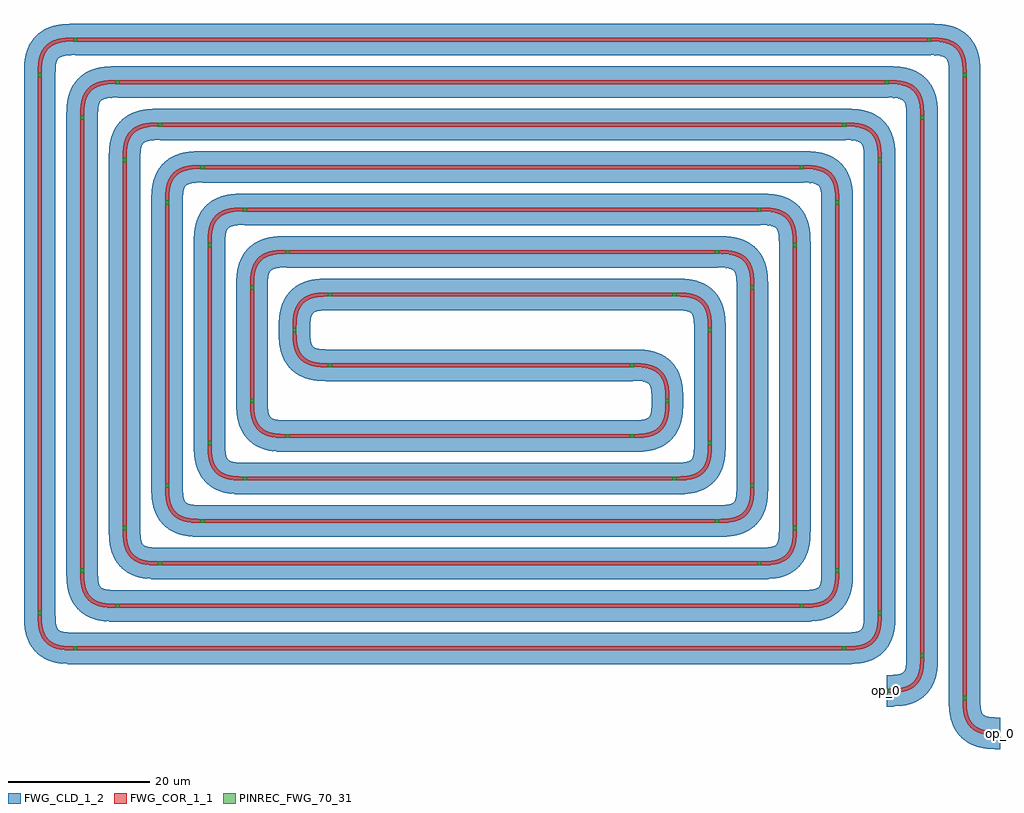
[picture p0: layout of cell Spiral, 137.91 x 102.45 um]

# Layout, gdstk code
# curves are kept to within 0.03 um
from math import pi, radians
import gdstk
lib = gdstk.Library(unit=1e-6, precision=1e-09)
def R(c, l, rs):  # rectangles x0, y0, x1, y1
    for r in rs: c.add(gdstk.rectangle(r[:2], r[2:], *l))
def P(c, l, *ps):  # polygons
    for p in ps: c.add(gdstk.Polygon(p, *l))
FWG_COR_1_1 = (1, 1)
FWG_CLD_1_2 = (1, 2)
PINREC_FWG_70_31 = (70, 31)

wg_x19 = lib.new_cell('wg_x19')
R(wg_x19, FWG_COR_1_1, [(0,-0.275,28,0.275)])
P(wg_x19, FWG_CLD_1_2, [(0,2.225),(28,2.225),(28,0.275),(28,-0.275),(28,-2.225),(0,-2.225),(0,-0.275),(0,0.275)])
R(wg_x19, PINREC_FWG_70_31, [(0,-0.275,0.3,0.275), (27.7,-0.275,28,0.275)])
wg_x19.add(gdstk.Label('op_0', (0,0), layer=70, texttype=41))
wg_x19.add(gdstk.Label('op_1', (28,0), layer=70, texttype=41))

wg_x26 = lib.new_cell('wg_x26')
P(wg_x26, FWG_COR_1_1, [(0,0.275),(1.312,0.306),(2.267,0.45),(3.07,0.741),(3.689,1.165),(3.969,1.47),(4.22,1.856),(4.529,2.65),(4.687,3.599),(4.725,5),(5.275,5),(5.235,3.552),(5.048,2.462),(4.892,1.997),(4.654,1.506),(4.372,1.093),(4.061,0.76),(3.58,0.397),(3.003,0.108),(2.35,-0.096),(1.638,-0.216),(0,-0.275)])
P(wg_x26, FWG_CLD_1_2, [(0,2.225),(0.954,2.238),(1.569,2.297),(2.057,2.422),(2.382,2.613),(2.564,2.908),(2.703,3.431),(2.764,4.083),(2.775,5),(7.225,5),(7.195,3.615),(7.074,2.591),(6.826,1.609),(6.417,0.663),(5.892,-0.128),(5.255,-0.787),(4.539,-1.302),(3.66,-1.729),(2.926,-1.962),(2.036,-2.132),(1.161,-2.207),(0,-2.225)])
R(wg_x26, PINREC_FWG_70_31, [(0,-0.275,0.3,0.275), (4.725,4.7,5.275,5)])
wg_x26.add(gdstk.Label('op_0', (0,0), layer=70, texttype=41))
wg_x26.add(gdstk.Label('op_1', (5,5), layer=70, texttype=41))

bendeuler90_x3 = lib.new_cell('BendEuler90_x3')
R(bendeuler90_x3, PINREC_FWG_70_31, [(0,-0.275,0.3,0.275), (4.725,4.7,5.275,5)])
bendeuler90_x3.add(gdstk.Reference(wg_x26, (0,0)))
bendeuler90_x3.add(gdstk.Label('op_0', (0,0), layer=70, texttype=41))
bendeuler90_x3.add(gdstk.Label('op_1', (5,5), layer=70, texttype=41))

wg_x1a = lib.new_cell('wg_x1a')
R(wg_x1a, FWG_COR_1_1, [(0,-0.275,60.683,0.275)])
P(wg_x1a, FWG_CLD_1_2, [(0,2.225),(60.683,2.225),(60.683,0.275),(60.683,-0.275),(60.683,-2.225),(0,-2.225),(0,-0.275),(0,0.275)])
R(wg_x1a, PINREC_FWG_70_31, [(0,-0.275,0.3,0.275), (60.383,-0.275,60.683,0.275)])
wg_x1a.add(gdstk.Label('op_0', (0,0), layer=70, texttype=41))
wg_x1a.add(gdstk.Label('op_1', (60.683,0), layer=70, texttype=41))

wg_x4 = lib.new_cell('wg_x4')
P(wg_x4, FWG_COR_1_1, [(-59.683,14.725),(-60.995,14.694),(-61.95,14.55),(-62.753,14.259),(-63.372,13.835),(-63.862,13.218),(-64.201,12.392),(-64.374,11.356),(-64.408,10),(-64.958,10),(-64.914,11.495),(-64.718,12.585),(-64.557,13.049),(-64.338,13.494),(-64.055,13.907),(-63.707,14.274),(-63.263,14.603),(-62.687,14.892),(-62.033,15.096),(-61.321,15.216),(-59.683,15.275)])
P(wg_x4, FWG_CLD_1_2, [(-59.683,12.775),(-60.637,12.762),(-61.252,12.703),(-61.74,12.578),(-62.065,12.387),(-62.247,12.092),(-62.382,11.597),(-62.442,11.026),(-62.458,10),(-66.908,10),(-66.882,11.328),(-66.757,12.409),(-66.509,13.391),(-66.1,14.337),(-65.575,15.128),(-64.938,15.787),(-64.222,16.302),(-63.343,16.729),(-62.609,16.962),(-61.719,17.132),(-60.844,17.207),(-59.683,17.225)])
R(wg_x4, PINREC_FWG_70_31, [(-64.958,10,-64.408,10.3), (-59.983,14.725,-59.683,15.275)])
wg_x4.add(gdstk.Label('op_0', (-59.683,15), layer=70, texttype=41))
wg_x4.add(gdstk.Label('op_1', (-64.683,10), layer=70, texttype=41))

bendeuler90_x2 = lib.new_cell('BendEuler90_x2')
R(bendeuler90_x2, PINREC_FWG_70_31, [(-64.958,10,-64.408,10.3), (-59.983,14.725,-59.683,15.275)])
bendeuler90_x2.add(gdstk.Reference(wg_x4, (0,0)))
bendeuler90_x2.add(gdstk.Label('op_0', (-59.683,15), layer=70, texttype=41))
bendeuler90_x2.add(gdstk.Label('op_1', (-64.683,10), layer=70, texttype=41))

wg_x1b = lib.new_cell('wg_x1b')
R(wg_x1b, FWG_COR_1_1, [(-64.958,-6,-64.408,10)])
P(wg_x1b, FWG_CLD_1_2, [(-62.458,10),(-62.458,-6),(-64.408,-6),(-64.958,-6),(-66.908,-6),(-66.908,10),(-64.958,10),(-64.408,10)])
R(wg_x1b, PINREC_FWG_70_31, [(-64.958,-6,-64.408,-5.7), (-64.958,9.7,-64.408,10)])
wg_x1b.add(gdstk.Label('op_0', (-64.683,10), layer=70, texttype=41))
wg_x1b.add(gdstk.Label('op_1', (-64.683,-6), layer=70, texttype=41))

wg_x23 = lib.new_cell('wg_x23')
P(wg_x23, FWG_COR_1_1, [(-64.408,-6),(-64.377,-7.312),(-64.233,-8.267),(-63.961,-9.032),(-63.546,-9.658),(-63.214,-9.969),(-62.865,-10.199),(-62.034,-10.529),(-61.084,-10.687),(-59.683,-10.725),(-59.683,-11.275),(-61.131,-11.235),(-62.222,-11.048),(-63.134,-10.679),(-63.591,-10.372),(-63.923,-10.061),(-64.286,-9.58),(-64.537,-9.095),(-64.756,-8.444),(-64.888,-7.733),(-64.958,-6)])
P(wg_x23, FWG_CLD_1_2, [(-62.458,-6),(-62.391,-7.541),(-62.261,-8.057),(-62.076,-8.376),(-61.758,-8.571),(-61.252,-8.703),(-60.6,-8.764),(-59.683,-8.775),(-59.683,-13.225),(-61.068,-13.195),(-62.093,-13.074),(-63.074,-12.826),(-64.02,-12.417),(-64.812,-11.892),(-65.47,-11.255),(-66.025,-10.471),(-66.438,-9.593),(-66.662,-8.86),(-66.823,-7.975),(-66.893,-7.105),(-66.908,-6)])
R(wg_x23, PINREC_FWG_70_31, [(-59.983,-11.275,-59.683,-10.725), (-64.958,-6.3,-64.408,-6)])
wg_x23.add(gdstk.Label('op_0', (-64.683,-6), layer=70, texttype=41))
wg_x23.add(gdstk.Label('op_1', (-59.683,-11), layer=70, texttype=41))

bendeuler90_xb = lib.new_cell('BendEuler90_xb')
R(bendeuler90_xb, PINREC_FWG_70_31, [(-59.983,-11.275,-59.683,-10.725), (-64.958,-6.3,-64.408,-6)])
bendeuler90_xb.add(gdstk.Reference(wg_x23, (0,0)))
bendeuler90_xb.add(gdstk.Label('op_0', (-64.683,-6), layer=70, texttype=41))
bendeuler90_xb.add(gdstk.Label('op_1', (-59.683,-11), layer=70, texttype=41))

wg_xe = lib.new_cell('wg_xe')
R(wg_xe, FWG_COR_1_1, [(-59.683,-11.275,-11,-10.725)])
P(wg_xe, FWG_CLD_1_2, [(-59.683,-8.775),(-11,-8.775),(-11,-10.725),(-11,-11.275),(-11,-13.225),(-59.683,-13.225),(-59.683,-11.275),(-59.683,-10.725)])
R(wg_xe, PINREC_FWG_70_31, [(-59.683,-11.275,-59.383,-10.725), (-11.3,-11.275,-11,-10.725)])
wg_xe.add(gdstk.Label('op_0', (-59.683,-11), layer=70, texttype=41))
wg_xe.add(gdstk.Label('op_1', (-11,-11), layer=70, texttype=41))

wg_x1c = lib.new_cell('wg_x1c')
R(wg_x1c, FWG_COR_1_1, [(0,-0.275,42.683,0.275)])
P(wg_x1c, FWG_CLD_1_2, [(0,2.225),(42.683,2.225),(42.683,0.275),(42.683,-0.275),(42.683,-2.225),(0,-2.225),(0,-0.275),(0,0.275)])
R(wg_x1c, PINREC_FWG_70_31, [(0,-0.275,0.3,0.275), (42.383,-0.275,42.683,0.275)])
wg_x1c.add(gdstk.Label('op_0', (0,0), layer=70, texttype=41))
wg_x1c.add(gdstk.Label('op_1', (42.683,0), layer=70, texttype=41))

wg_x24 = lib.new_cell('wg_x24')
P(wg_x24, FWG_COR_1_1, [(-53.683,-0.725),(-54.995,-0.694),(-55.95,-0.55),(-56.753,-0.259),(-57.372,0.165),(-57.862,0.782),(-58.201,1.608),(-58.374,2.644),(-58.408,4),(-58.958,4),(-58.914,2.505),(-58.718,1.415),(-58.557,0.951),(-58.338,0.506),(-58.055,0.093),(-57.707,-0.274),(-57.263,-0.603),(-56.687,-0.892),(-56.033,-1.096),(-55.321,-1.216),(-53.683,-1.275)])
P(wg_x24, FWG_CLD_1_2, [(-53.683,1.225),(-54.637,1.238),(-55.252,1.297),(-55.74,1.422),(-56.065,1.613),(-56.247,1.908),(-56.382,2.403),(-56.442,2.974),(-56.458,4),(-60.908,4),(-60.882,2.672),(-60.757,1.591),(-60.509,0.609),(-60.1,-0.337),(-59.575,-1.128),(-58.938,-1.787),(-58.222,-2.302),(-57.343,-2.729),(-56.609,-2.962),(-55.719,-3.132),(-54.844,-3.207),(-53.683,-3.225)])
R(wg_x24, PINREC_FWG_70_31, [(-53.983,-1.275,-53.683,-0.725), (-58.958,3.7,-58.408,4)])
wg_x24.add(gdstk.Label('op_0', (-53.683,-1), layer=70, texttype=41))
wg_x24.add(gdstk.Label('op_1', (-58.683,4), layer=70, texttype=41))

bendeuler90_xc = lib.new_cell('BendEuler90_xc')
R(bendeuler90_xc, PINREC_FWG_70_31, [(-53.983,-1.275,-53.683,-0.725), (-58.958,3.7,-58.408,4)])
bendeuler90_xc.add(gdstk.Reference(wg_x24, (0,0)))
bendeuler90_xc.add(gdstk.Label('op_0', (-53.683,-1), layer=70, texttype=41))
bendeuler90_xc.add(gdstk.Label('op_1', (-58.683,4), layer=70, texttype=41))

wg_x17 = lib.new_cell('wg_x17')
P(wg_x17, FWG_COR_1_1, [(-58.408,4),(-58.377,5.312),(-58.233,6.267),(-57.961,7.032),(-57.546,7.658),(-57.214,7.969),(-56.865,8.199),(-56.034,8.529),(-55.084,8.687),(-53.683,8.725),(-53.683,9.275),(-55.131,9.235),(-56.222,9.048),(-57.134,8.679),(-57.591,8.372),(-57.923,8.061),(-58.286,7.58),(-58.537,7.095),(-58.756,6.444),(-58.888,5.733),(-58.958,4)])
P(wg_x17, FWG_CLD_1_2, [(-56.458,4),(-56.391,5.541),(-56.261,6.057),(-56.076,6.376),(-55.758,6.571),(-55.252,6.703),(-54.6,6.764),(-53.683,6.775),(-53.683,11.225),(-55.068,11.195),(-56.093,11.074),(-57.074,10.826),(-58.02,10.417),(-58.812,9.892),(-59.47,9.255),(-60.025,8.471),(-60.438,7.593),(-60.662,6.86),(-60.823,5.975),(-60.893,5.105),(-60.908,4)])
R(wg_x17, PINREC_FWG_70_31, [(-58.958,4,-58.408,4.3), (-53.983,8.725,-53.683,9.275)])
wg_x17.add(gdstk.Label('op_0', (-58.683,4), layer=70, texttype=41))
wg_x17.add(gdstk.Label('op_1', (-53.683,9), layer=70, texttype=41))

bendeuler90_xd = lib.new_cell('BendEuler90_xd')
R(bendeuler90_xd, PINREC_FWG_70_31, [(-58.958,4,-58.408,4.3), (-53.983,8.725,-53.683,9.275)])
bendeuler90_xd.add(gdstk.Reference(wg_x17, (0,0)))
bendeuler90_xd.add(gdstk.Label('op_0', (-58.683,4), layer=70, texttype=41))
bendeuler90_xd.add(gdstk.Label('op_1', (-53.683,9), layer=70, texttype=41))

wg_x18 = lib.new_cell('wg_x18')
R(wg_x18, FWG_COR_1_1, [(-53.683,8.725,-5,9.275)])
P(wg_x18, FWG_CLD_1_2, [(-53.683,11.225),(-5,11.225),(-5,9.275),(-5,8.725),(-5,6.775),(-53.683,6.775),(-53.683,8.725),(-53.683,9.275)])
R(wg_x18, PINREC_FWG_70_31, [(-53.683,8.725,-53.383,9.275), (-5.3,8.725,-5,9.275)])
wg_x18.add(gdstk.Label('op_0', (-53.683,9), layer=70, texttype=41))
wg_x18.add(gdstk.Label('op_1', (-5,9), layer=70, texttype=41))

wg_x1d = lib.new_cell('wg_x1d')
R(wg_x1d, FWG_COR_1_1, [(0,-0.275,16,0.275)])
P(wg_x1d, FWG_CLD_1_2, [(0,2.225),(16,2.225),(16,0.275),(16,-0.275),(16,-2.225),(0,-2.225),(0,-0.275),(0,0.275)])
R(wg_x1d, PINREC_FWG_70_31, [(0,-0.275,0.3,0.275), (15.7,-0.275,16,0.275)])
wg_x1d.add(gdstk.Label('op_0', (0,0), layer=70, texttype=41))
wg_x1d.add(gdstk.Label('op_1', (16,0), layer=70, texttype=41))

linksmooth_x2 = lib.new_cell('LinkSmooth_x2')
R(linksmooth_x2, PINREC_FWG_70_31, [(5.725,-18,6.275,-17.7), (-0.275,-12,0.275,-11.7)])
linksmooth_x2.add(gdstk.Reference(wg_x19, (6,-18), rotation=pi/2))
linksmooth_x2.add(gdstk.Reference(bendeuler90_x3, (6,10), rotation=pi/2))
linksmooth_x2.add(gdstk.Reference(wg_x1a, (1,15), rotation=pi))
linksmooth_x2.add(gdstk.Reference(bendeuler90_x2, (0,0)))
linksmooth_x2.add(gdstk.Reference(wg_x1b, (0,0)))
linksmooth_x2.add(gdstk.Reference(bendeuler90_xb, (0,0)))
linksmooth_x2.add(gdstk.Reference(wg_xe, (0,0)))
linksmooth_x2.add(gdstk.Reference(bendeuler90_x3, (-11,-11)))
linksmooth_x2.add(gdstk.Reference(bendeuler90_x3, (-6,-6), rotation=pi/2))
linksmooth_x2.add(gdstk.Reference(wg_x1c, (-11,-1), rotation=pi))
linksmooth_x2.add(gdstk.Reference(bendeuler90_xc, (0,0)))
linksmooth_x2.add(gdstk.Reference(bendeuler90_xd, (0,0)))
linksmooth_x2.add(gdstk.Reference(wg_x18, (0,0)))
linksmooth_x2.add(gdstk.Reference(bendeuler90_x3, (-5,9), x_reflection=True))
linksmooth_x2.add(gdstk.Reference(wg_x1d, (0,4), rotation=3*pi/2))
linksmooth_x2.add(gdstk.Label('op_0', (6,-18), layer=70, texttype=41))
linksmooth_x2.add(gdstk.Label('op_1', (0,-12), layer=70, texttype=41))

wg_x1e = lib.new_cell('wg_x1e')
R(wg_x1e, FWG_COR_1_1, [(0,-0.275,40,0.275)])
P(wg_x1e, FWG_CLD_1_2, [(0,2.225),(40,2.225),(40,0.275),(40,-0.275),(40,-2.225),(0,-2.225),(0,-0.275),(0,0.275)])
R(wg_x1e, PINREC_FWG_70_31, [(0,-0.275,0.3,0.275), (39.7,-0.275,40,0.275)])
wg_x1e.add(gdstk.Label('op_0', (0,0), layer=70, texttype=41))
wg_x1e.add(gdstk.Label('op_1', (40,0), layer=70, texttype=41))

wg_x13 = lib.new_cell('wg_x13')
R(wg_x13, FWG_COR_1_1, [(0,-0.275,72.683,0.275)])
P(wg_x13, FWG_CLD_1_2, [(0,2.225),(72.683,2.225),(72.683,0.275),(72.683,-0.275),(72.683,-2.225),(0,-2.225),(0,-0.275),(0,0.275)])
R(wg_x13, PINREC_FWG_70_31, [(0,-0.275,0.3,0.275), (72.383,-0.275,72.683,0.275)])
wg_x13.add(gdstk.Label('op_0', (0,0), layer=70, texttype=41))
wg_x13.add(gdstk.Label('op_1', (72.683,0), layer=70, texttype=41))

wg_x3 = lib.new_cell('wg_x3')
P(wg_x3, FWG_COR_1_1, [(-77.683,44.725),(-78.995,44.694),(-79.95,44.55),(-80.753,44.259),(-81.372,43.835),(-81.862,43.218),(-82.201,42.392),(-82.374,41.356),(-82.408,40),(-82.958,40),(-82.914,41.495),(-82.718,42.585),(-82.557,43.049),(-82.338,43.494),(-82.055,43.907),(-81.707,44.274),(-81.263,44.603),(-80.687,44.892),(-80.033,45.096),(-79.321,45.216),(-77.683,45.275)])
P(wg_x3, FWG_CLD_1_2, [(-77.683,42.775),(-78.637,42.762),(-79.252,42.703),(-79.74,42.578),(-80.065,42.387),(-80.247,42.092),(-80.382,41.597),(-80.442,41.026),(-80.458,40),(-84.908,40),(-84.882,41.328),(-84.757,42.409),(-84.509,43.391),(-84.1,44.337),(-83.575,45.128),(-82.938,45.787),(-82.222,46.302),(-81.343,46.729),(-80.609,46.962),(-79.719,47.132),(-78.844,47.207),(-77.683,47.225)])
R(wg_x3, PINREC_FWG_70_31, [(-82.958,40,-82.408,40.3), (-77.983,44.725,-77.683,45.275)])
wg_x3.add(gdstk.Label('op_0', (-77.683,45), layer=70, texttype=41))
wg_x3.add(gdstk.Label('op_1', (-82.683,40), layer=70, texttype=41))

bendeuler90_xe = lib.new_cell('BendEuler90_xe')
R(bendeuler90_xe, PINREC_FWG_70_31, [(-82.958,40,-82.408,40.3), (-77.983,44.725,-77.683,45.275)])
bendeuler90_xe.add(gdstk.Reference(wg_x3, (0,0)))
bendeuler90_xe.add(gdstk.Label('op_0', (-77.683,45), layer=70, texttype=41))
bendeuler90_xe.add(gdstk.Label('op_1', (-82.683,40), layer=70, texttype=41))

wg_xb = lib.new_cell('wg_xb')
R(wg_xb, FWG_COR_1_1, [(-82.958,12,-82.408,40)])
P(wg_xb, FWG_CLD_1_2, [(-80.458,40),(-80.458,12),(-82.408,12),(-82.958,12),(-84.908,12),(-84.908,40),(-82.958,40),(-82.408,40)])
R(wg_xb, PINREC_FWG_70_31, [(-82.958,12,-82.408,12.3), (-82.958,39.7,-82.408,40)])
wg_xb.add(gdstk.Label('op_0', (-82.683,40), layer=70, texttype=41))
wg_xb.add(gdstk.Label('op_1', (-82.683,12), layer=70, texttype=41))

wg_xa = lib.new_cell('wg_xa')
P(wg_xa, FWG_COR_1_1, [(-82.408,12),(-82.377,10.688),(-82.233,9.733),(-81.961,8.968),(-81.546,8.342),(-81.214,8.031),(-80.865,7.801),(-80.034,7.471),(-79.084,7.313),(-77.683,7.275),(-77.683,6.725),(-79.131,6.765),(-80.222,6.952),(-81.134,7.321),(-81.591,7.628),(-81.923,7.939),(-82.286,8.42),(-82.537,8.905),(-82.756,9.556),(-82.888,10.267),(-82.958,12)])
P(wg_xa, FWG_CLD_1_2, [(-80.458,12),(-80.391,10.459),(-80.261,9.943),(-80.076,9.624),(-79.758,9.429),(-79.252,9.297),(-78.6,9.236),(-77.683,9.225),(-77.683,4.775),(-79.068,4.805),(-80.093,4.926),(-81.074,5.174),(-82.02,5.583),(-82.812,6.108),(-83.47,6.745),(-84.025,7.529),(-84.438,8.407),(-84.662,9.14),(-84.823,10.025),(-84.893,10.895),(-84.908,12)])
R(wg_xa, PINREC_FWG_70_31, [(-77.983,6.725,-77.683,7.275), (-82.958,11.7,-82.408,12)])
wg_xa.add(gdstk.Label('op_0', (-82.683,12), layer=70, texttype=41))
wg_xa.add(gdstk.Label('op_1', (-77.683,7), layer=70, texttype=41))

bendeuler90_x6 = lib.new_cell('BendEuler90_x6')
R(bendeuler90_x6, PINREC_FWG_70_31, [(-77.983,6.725,-77.683,7.275), (-82.958,11.7,-82.408,12)])
bendeuler90_x6.add(gdstk.Reference(wg_xa, (0,0)))
bendeuler90_x6.add(gdstk.Label('op_0', (-82.683,12), layer=70, texttype=41))
bendeuler90_x6.add(gdstk.Label('op_1', (-77.683,7), layer=70, texttype=41))

wg_x25 = lib.new_cell('wg_x25')
R(wg_x25, FWG_COR_1_1, [(-77.683,6.725,-17,7.275)])
P(wg_x25, FWG_CLD_1_2, [(-77.683,9.225),(-17,9.225),(-17,7.275),(-17,6.725),(-17,4.775),(-77.683,4.775),(-77.683,6.725),(-77.683,7.275)])
R(wg_x25, PINREC_FWG_70_31, [(-77.683,6.725,-77.383,7.275), (-17.3,6.725,-17,7.275)])
wg_x25.add(gdstk.Label('op_0', (-77.683,7), layer=70, texttype=41))
wg_x25.add(gdstk.Label('op_1', (-17,7), layer=70, texttype=41))

linksmooth_x3 = lib.new_cell('LinkSmooth_x3')
R(linksmooth_x3, PINREC_FWG_70_31, [(-0.275,0,0.275,0.3), (-12.275,11.7,-11.725,12)])
linksmooth_x3.add(gdstk.Reference(wg_x1e, (0,0), rotation=pi/2))
linksmooth_x3.add(gdstk.Reference(bendeuler90_x3, (0,40), rotation=pi/2))
linksmooth_x3.add(gdstk.Reference(wg_x13, (-5,45), rotation=pi))
linksmooth_x3.add(gdstk.Reference(bendeuler90_xe, (0,0)))
linksmooth_x3.add(gdstk.Reference(wg_xb, (0,0)))
linksmooth_x3.add(gdstk.Reference(bendeuler90_x6, (0,0)))
linksmooth_x3.add(gdstk.Reference(wg_x25, (0,0)))
linksmooth_x3.add(gdstk.Reference(bendeuler90_x3, (-17,7)))
linksmooth_x3.add(gdstk.Label('op_0', (0,0), layer=70, texttype=41))
linksmooth_x3.add(gdstk.Label('op_1', (-12,12), layer=70, texttype=41))

wg_x5 = lib.new_cell('wg_x5')
R(wg_x5, FWG_COR_1_1, [(0,-0.275,52,0.275)])
P(wg_x5, FWG_CLD_1_2, [(0,2.225),(52,2.225),(52,0.275),(52,-0.275),(52,-2.225),(0,-2.225),(0,-0.275),(0,0.275)])
R(wg_x5, PINREC_FWG_70_31, [(0,-0.275,0.3,0.275), (51.7,-0.275,52,0.275)])
wg_x5.add(gdstk.Label('op_0', (0,0), layer=70, texttype=41))
wg_x5.add(gdstk.Label('op_1', (52,0), layer=70, texttype=41))

wg_x6 = lib.new_cell('wg_x6')
R(wg_x6, FWG_COR_1_1, [(0,-0.275,84.683,0.275)])
P(wg_x6, FWG_CLD_1_2, [(0,2.225),(84.683,2.225),(84.683,0.275),(84.683,-0.275),(84.683,-2.225),(0,-2.225),(0,-0.275),(0,0.275)])
R(wg_x6, PINREC_FWG_70_31, [(0,-0.275,0.3,0.275), (84.383,-0.275,84.683,0.275)])
wg_x6.add(gdstk.Label('op_0', (0,0), layer=70, texttype=41))
wg_x6.add(gdstk.Label('op_1', (84.683,0), layer=70, texttype=41))

wg_x1 = lib.new_cell('wg_x1')
P(wg_x1, FWG_COR_1_1, [(-89.683,56.725),(-90.995,56.694),(-91.95,56.55),(-92.753,56.259),(-93.372,55.835),(-93.862,55.218),(-94.201,54.392),(-94.374,53.356),(-94.408,52),(-94.958,52),(-94.914,53.495),(-94.718,54.585),(-94.557,55.049),(-94.338,55.494),(-94.055,55.907),(-93.707,56.274),(-93.263,56.603),(-92.687,56.892),(-92.033,57.096),(-91.321,57.216),(-89.683,57.275)])
P(wg_x1, FWG_CLD_1_2, [(-89.683,54.775),(-90.637,54.762),(-91.252,54.703),(-91.74,54.578),(-92.065,54.387),(-92.247,54.092),(-92.382,53.597),(-92.442,53.026),(-92.458,52),(-96.908,52),(-96.882,53.328),(-96.757,54.409),(-96.509,55.391),(-96.1,56.337),(-95.575,57.128),(-94.938,57.787),(-94.222,58.302),(-93.343,58.729),(-92.609,58.962),(-91.719,59.132),(-90.844,59.207),(-89.683,59.225)])
R(wg_x1, PINREC_FWG_70_31, [(-94.958,52,-94.408,52.3), (-89.983,56.725,-89.683,57.275)])
wg_x1.add(gdstk.Label('op_0', (-89.683,57), layer=70, texttype=41))
wg_x1.add(gdstk.Label('op_1', (-94.683,52), layer=70, texttype=41))

bendeuler90_x1 = lib.new_cell('BendEuler90_x1')
R(bendeuler90_x1, PINREC_FWG_70_31, [(-94.958,52,-94.408,52.3), (-89.983,56.725,-89.683,57.275)])
bendeuler90_x1.add(gdstk.Reference(wg_x1, (0,0)))
bendeuler90_x1.add(gdstk.Label('op_0', (-89.683,57), layer=70, texttype=41))
bendeuler90_x1.add(gdstk.Label('op_1', (-94.683,52), layer=70, texttype=41))

wg_x7 = lib.new_cell('wg_x7')
R(wg_x7, FWG_COR_1_1, [(-94.958,12,-94.408,52)])
P(wg_x7, FWG_CLD_1_2, [(-92.458,52),(-92.458,12),(-94.408,12),(-94.958,12),(-96.908,12),(-96.908,52),(-94.958,52),(-94.408,52)])
R(wg_x7, PINREC_FWG_70_31, [(-94.958,12,-94.408,12.3), (-94.958,51.7,-94.408,52)])
wg_x7.add(gdstk.Label('op_0', (-94.683,52), layer=70, texttype=41))
wg_x7.add(gdstk.Label('op_1', (-94.683,12), layer=70, texttype=41))

wg_x21 = lib.new_cell('wg_x21')
P(wg_x21, FWG_COR_1_1, [(-94.408,12),(-94.377,10.688),(-94.233,9.733),(-93.961,8.968),(-93.546,8.342),(-93.214,8.031),(-92.865,7.801),(-92.034,7.471),(-91.084,7.313),(-89.683,7.275),(-89.683,6.725),(-91.131,6.765),(-92.222,6.952),(-93.134,7.321),(-93.591,7.628),(-93.923,7.939),(-94.286,8.42),(-94.537,8.905),(-94.756,9.556),(-94.888,10.267),(-94.958,12)])
P(wg_x21, FWG_CLD_1_2, [(-92.458,12),(-92.391,10.459),(-92.261,9.943),(-92.076,9.624),(-91.758,9.429),(-91.252,9.297),(-90.6,9.236),(-89.683,9.225),(-89.683,4.775),(-91.068,4.805),(-92.093,4.926),(-93.074,5.174),(-94.02,5.583),(-94.812,6.108),(-95.47,6.745),(-96.025,7.529),(-96.438,8.407),(-96.662,9.14),(-96.823,10.025),(-96.893,10.895),(-96.908,12)])
R(wg_x21, PINREC_FWG_70_31, [(-89.983,6.725,-89.683,7.275), (-94.958,11.7,-94.408,12)])
wg_x21.add(gdstk.Label('op_0', (-94.683,12), layer=70, texttype=41))
wg_x21.add(gdstk.Label('op_1', (-89.683,7), layer=70, texttype=41))

bendeuler90_x4 = lib.new_cell('BendEuler90_x4')
R(bendeuler90_x4, PINREC_FWG_70_31, [(-89.983,6.725,-89.683,7.275), (-94.958,11.7,-94.408,12)])
bendeuler90_x4.add(gdstk.Reference(wg_x21, (0,0)))
bendeuler90_x4.add(gdstk.Label('op_0', (-94.683,12), layer=70, texttype=41))
bendeuler90_x4.add(gdstk.Label('op_1', (-89.683,7), layer=70, texttype=41))

wg_x8 = lib.new_cell('wg_x8')
R(wg_x8, FWG_COR_1_1, [(-89.683,6.725,-17,7.275)])
P(wg_x8, FWG_CLD_1_2, [(-89.683,9.225),(-17,9.225),(-17,7.275),(-17,6.725),(-17,4.775),(-89.683,4.775),(-89.683,6.725),(-89.683,7.275)])
R(wg_x8, PINREC_FWG_70_31, [(-89.683,6.725,-89.383,7.275), (-17.3,6.725,-17,7.275)])
wg_x8.add(gdstk.Label('op_0', (-89.683,7), layer=70, texttype=41))
wg_x8.add(gdstk.Label('op_1', (-17,7), layer=70, texttype=41))

linksmooth = lib.new_cell('LinkSmooth')
R(linksmooth, PINREC_FWG_70_31, [(-0.275,0,0.275,0.3), (-12.275,11.7,-11.725,12)])
linksmooth.add(gdstk.Reference(wg_x5, (0,0), rotation=pi/2))
linksmooth.add(gdstk.Reference(bendeuler90_x3, (0,52), rotation=pi/2))
linksmooth.add(gdstk.Reference(wg_x6, (-5,57), rotation=pi))
linksmooth.add(gdstk.Reference(bendeuler90_x1, (0,0)))
linksmooth.add(gdstk.Reference(wg_x7, (0,0)))
linksmooth.add(gdstk.Reference(bendeuler90_x4, (0,0)))
linksmooth.add(gdstk.Reference(wg_x8, (0,0)))
linksmooth.add(gdstk.Reference(bendeuler90_x3, (-17,7)))
linksmooth.add(gdstk.Label('op_0', (0,0), layer=70, texttype=41))
linksmooth.add(gdstk.Label('op_1', (-12,12), layer=70, texttype=41))

wg_xc = lib.new_cell('wg_xc')
R(wg_xc, FWG_COR_1_1, [(0,-0.275,64,0.275)])
P(wg_xc, FWG_CLD_1_2, [(0,2.225),(64,2.225),(64,0.275),(64,-0.275),(64,-2.225),(0,-2.225),(0,-0.275),(0,0.275)])
R(wg_xc, PINREC_FWG_70_31, [(0,-0.275,0.3,0.275), (63.7,-0.275,64,0.275)])
wg_xc.add(gdstk.Label('op_0', (0,0), layer=70, texttype=41))
wg_xc.add(gdstk.Label('op_1', (64,0), layer=70, texttype=41))

wg_x14 = lib.new_cell('wg_x14')
R(wg_x14, FWG_COR_1_1, [(0,-0.275,96.683,0.275)])
P(wg_x14, FWG_CLD_1_2, [(0,2.225),(96.683,2.225),(96.683,0.275),(96.683,-0.275),(96.683,-2.225),(0,-2.225),(0,-0.275),(0,0.275)])
R(wg_x14, PINREC_FWG_70_31, [(0,-0.275,0.3,0.275), (96.383,-0.275,96.683,0.275)])
wg_x14.add(gdstk.Label('op_0', (0,0), layer=70, texttype=41))
wg_x14.add(gdstk.Label('op_1', (96.683,0), layer=70, texttype=41))

wg_x20 = lib.new_cell('wg_x20')
P(wg_x20, FWG_COR_1_1, [(-101.683,68.725),(-102.995,68.694),(-103.95,68.55),(-104.753,68.259),(-105.372,67.835),(-105.862,67.218),(-106.201,66.392),(-106.374,65.356),(-106.408,64),(-106.958,64),(-106.914,65.495),(-106.718,66.585),(-106.557,67.049),(-106.338,67.494),(-106.055,67.907),(-105.707,68.274),(-105.263,68.603),(-104.687,68.892),(-104.033,69.096),(-103.321,69.216),(-101.683,69.275)])
P(wg_x20, FWG_CLD_1_2, [(-101.683,66.775),(-102.637,66.762),(-103.252,66.703),(-103.74,66.578),(-104.065,66.387),(-104.247,66.092),(-104.382,65.597),(-104.442,65.026),(-104.458,64),(-108.908,64),(-108.882,65.328),(-108.757,66.409),(-108.509,67.391),(-108.1,68.337),(-107.575,69.128),(-106.938,69.787),(-106.222,70.302),(-105.343,70.729),(-104.609,70.962),(-103.719,71.132),(-102.844,71.207),(-101.683,71.225)])
R(wg_x20, PINREC_FWG_70_31, [(-106.958,64,-106.408,64.3), (-101.983,68.725,-101.683,69.275)])
wg_x20.add(gdstk.Label('op_0', (-101.683,69), layer=70, texttype=41))
wg_x20.add(gdstk.Label('op_1', (-106.683,64), layer=70, texttype=41))

bendeuler90_x9 = lib.new_cell('BendEuler90_x9')
R(bendeuler90_x9, PINREC_FWG_70_31, [(-106.958,64,-106.408,64.3), (-101.983,68.725,-101.683,69.275)])
bendeuler90_x9.add(gdstk.Reference(wg_x20, (0,0)))
bendeuler90_x9.add(gdstk.Label('op_0', (-101.683,69), layer=70, texttype=41))
bendeuler90_x9.add(gdstk.Label('op_1', (-106.683,64), layer=70, texttype=41))

wg_x15 = lib.new_cell('wg_x15')
R(wg_x15, FWG_COR_1_1, [(-106.958,12,-106.408,64)])
P(wg_x15, FWG_CLD_1_2, [(-104.458,64),(-104.458,12),(-106.408,12),(-106.958,12),(-108.908,12),(-108.908,64),(-106.958,64),(-106.408,64)])
R(wg_x15, PINREC_FWG_70_31, [(-106.958,12,-106.408,12.3), (-106.958,63.7,-106.408,64)])
wg_x15.add(gdstk.Label('op_0', (-106.683,64), layer=70, texttype=41))
wg_x15.add(gdstk.Label('op_1', (-106.683,12), layer=70, texttype=41))

wg_x2 = lib.new_cell('wg_x2')
P(wg_x2, FWG_COR_1_1, [(-106.408,12),(-106.377,10.688),(-106.233,9.733),(-105.961,8.968),(-105.546,8.342),(-105.214,8.031),(-104.865,7.801),(-104.034,7.471),(-103.084,7.313),(-101.683,7.275),(-101.683,6.725),(-103.131,6.765),(-104.222,6.952),(-105.134,7.321),(-105.591,7.628),(-105.923,7.939),(-106.286,8.42),(-106.537,8.905),(-106.756,9.556),(-106.888,10.267),(-106.958,12)])
P(wg_x2, FWG_CLD_1_2, [(-104.458,12),(-104.391,10.459),(-104.261,9.943),(-104.076,9.624),(-103.758,9.429),(-103.252,9.297),(-102.6,9.236),(-101.683,9.225),(-101.683,4.775),(-103.068,4.805),(-104.093,4.926),(-105.074,5.174),(-106.02,5.583),(-106.812,6.108),(-107.47,6.745),(-108.025,7.529),(-108.438,8.407),(-108.662,9.14),(-108.823,10.025),(-108.893,10.895),(-108.908,12)])
R(wg_x2, PINREC_FWG_70_31, [(-101.983,6.725,-101.683,7.275), (-106.958,11.7,-106.408,12)])
wg_x2.add(gdstk.Label('op_0', (-106.683,12), layer=70, texttype=41))
wg_x2.add(gdstk.Label('op_1', (-101.683,7), layer=70, texttype=41))

bendeuler90_xa = lib.new_cell('BendEuler90_xa')
R(bendeuler90_xa, PINREC_FWG_70_31, [(-101.983,6.725,-101.683,7.275), (-106.958,11.7,-106.408,12)])
bendeuler90_xa.add(gdstk.Reference(wg_x2, (0,0)))
bendeuler90_xa.add(gdstk.Label('op_0', (-106.683,12), layer=70, texttype=41))
bendeuler90_xa.add(gdstk.Label('op_1', (-101.683,7), layer=70, texttype=41))

wg_x16 = lib.new_cell('wg_x16')
R(wg_x16, FWG_COR_1_1, [(-101.683,6.725,-17,7.275)])
P(wg_x16, FWG_CLD_1_2, [(-101.683,9.225),(-17,9.225),(-17,7.275),(-17,6.725),(-17,4.775),(-101.683,4.775),(-101.683,6.725),(-101.683,7.275)])
R(wg_x16, PINREC_FWG_70_31, [(-101.683,6.725,-101.383,7.275), (-17.3,6.725,-17,7.275)])
wg_x16.add(gdstk.Label('op_0', (-101.683,7), layer=70, texttype=41))
wg_x16.add(gdstk.Label('op_1', (-17,7), layer=70, texttype=41))

linksmooth_x1 = lib.new_cell('LinkSmooth_x1')
R(linksmooth_x1, PINREC_FWG_70_31, [(-0.275,0,0.275,0.3), (-12.275,11.7,-11.725,12)])
linksmooth_x1.add(gdstk.Reference(wg_xc, (0,0), rotation=pi/2))
linksmooth_x1.add(gdstk.Reference(bendeuler90_x3, (0,64), rotation=pi/2))
linksmooth_x1.add(gdstk.Reference(wg_x14, (-5,69), rotation=pi))
linksmooth_x1.add(gdstk.Reference(bendeuler90_x9, (0,0)))
linksmooth_x1.add(gdstk.Reference(wg_x15, (0,0)))
linksmooth_x1.add(gdstk.Reference(bendeuler90_xa, (0,0)))
linksmooth_x1.add(gdstk.Reference(wg_x16, (0,0)))
linksmooth_x1.add(gdstk.Reference(bendeuler90_x3, (-17,7)))
linksmooth_x1.add(gdstk.Label('op_0', (0,0), layer=70, texttype=41))
linksmooth_x1.add(gdstk.Label('op_1', (-12,12), layer=70, texttype=41))

wg_x28 = lib.new_cell('wg_x28')
R(wg_x28, FWG_COR_1_1, [(0,-0.275,76,0.275)])
P(wg_x28, FWG_CLD_1_2, [(0,2.225),(76,2.225),(76,0.275),(76,-0.275),(76,-2.225),(0,-2.225),(0,-0.275),(0,0.275)])
R(wg_x28, PINREC_FWG_70_31, [(0,-0.275,0.3,0.275), (75.7,-0.275,76,0.275)])
wg_x28.add(gdstk.Label('op_0', (0,0), layer=70, texttype=41))
wg_x28.add(gdstk.Label('op_1', (76,0), layer=70, texttype=41))

wg_xd = lib.new_cell('wg_xd')
R(wg_xd, FWG_COR_1_1, [(0,-0.275,108.683,0.275)])
P(wg_xd, FWG_CLD_1_2, [(0,2.225),(108.683,2.225),(108.683,0.275),(108.683,-0.275),(108.683,-2.225),(0,-2.225),(0,-0.275),(0,0.275)])
R(wg_xd, PINREC_FWG_70_31, [(0,-0.275,0.3,0.275), (108.383,-0.275,108.683,0.275)])
wg_xd.add(gdstk.Label('op_0', (0,0), layer=70, texttype=41))
wg_xd.add(gdstk.Label('op_1', (108.683,0), layer=70, texttype=41))

c_wg = lib.new_cell('wg')
P(c_wg, FWG_COR_1_1, [(-113.683,80.725),(-114.995,80.694),(-115.95,80.55),(-116.753,80.259),(-117.372,79.835),(-117.862,79.218),(-118.201,78.392),(-118.374,77.356),(-118.408,76),(-118.958,76),(-118.914,77.495),(-118.718,78.585),(-118.557,79.049),(-118.338,79.494),(-118.055,79.907),(-117.707,80.274),(-117.263,80.603),(-116.687,80.892),(-116.033,81.096),(-115.321,81.216),(-113.683,81.275)])
P(c_wg, FWG_CLD_1_2, [(-113.683,78.775),(-114.637,78.762),(-115.252,78.703),(-115.74,78.578),(-116.065,78.387),(-116.247,78.092),(-116.382,77.597),(-116.442,77.026),(-116.458,76),(-120.908,76),(-120.882,77.328),(-120.757,78.409),(-120.509,79.391),(-120.1,80.337),(-119.575,81.128),(-118.938,81.787),(-118.222,82.302),(-117.343,82.729),(-116.609,82.962),(-115.719,83.132),(-114.844,83.207),(-113.683,83.225)])
R(c_wg, PINREC_FWG_70_31, [(-118.958,76,-118.408,76.3), (-113.983,80.725,-113.683,81.275)])
c_wg.add(gdstk.Label('op_0', (-113.683,81), layer=70, texttype=41))
c_wg.add(gdstk.Label('op_1', (-118.683,76), layer=70, texttype=41))

bendeuler90 = lib.new_cell('BendEuler90')
R(bendeuler90, PINREC_FWG_70_31, [(-118.958,76,-118.408,76.3), (-113.983,80.725,-113.683,81.275)])
bendeuler90.add(gdstk.Reference(c_wg, (0,0)))
bendeuler90.add(gdstk.Label('op_0', (-113.683,81), layer=70, texttype=41))
bendeuler90.add(gdstk.Label('op_1', (-118.683,76), layer=70, texttype=41))

wg_x10 = lib.new_cell('wg_x10')
R(wg_x10, FWG_COR_1_1, [(-118.958,12,-118.408,76)])
P(wg_x10, FWG_CLD_1_2, [(-116.458,76),(-116.458,12),(-118.408,12),(-118.958,12),(-120.908,12),(-120.908,76),(-118.958,76),(-118.408,76)])
R(wg_x10, PINREC_FWG_70_31, [(-118.958,12,-118.408,12.3), (-118.958,75.7,-118.408,76)])
wg_x10.add(gdstk.Label('op_0', (-118.683,76), layer=70, texttype=41))
wg_x10.add(gdstk.Label('op_1', (-118.683,12), layer=70, texttype=41))

wg_x11 = lib.new_cell('wg_x11')
P(wg_x11, FWG_COR_1_1, [(-118.408,12),(-118.377,10.688),(-118.233,9.733),(-117.961,8.968),(-117.546,8.342),(-117.214,8.031),(-116.865,7.801),(-116.034,7.471),(-115.084,7.313),(-113.683,7.275),(-113.683,6.725),(-115.131,6.765),(-116.222,6.952),(-117.134,7.321),(-117.591,7.628),(-117.923,7.939),(-118.286,8.42),(-118.537,8.905),(-118.756,9.556),(-118.888,10.267),(-118.958,12)])
P(wg_x11, FWG_CLD_1_2, [(-116.458,12),(-116.391,10.459),(-116.261,9.943),(-116.076,9.624),(-115.758,9.429),(-115.252,9.297),(-114.6,9.236),(-113.683,9.225),(-113.683,4.775),(-115.068,4.805),(-116.093,4.926),(-117.074,5.174),(-118.02,5.583),(-118.812,6.108),(-119.47,6.745),(-120.025,7.529),(-120.438,8.407),(-120.662,9.14),(-120.823,10.025),(-120.893,10.895),(-120.908,12)])
R(wg_x11, PINREC_FWG_70_31, [(-113.983,6.725,-113.683,7.275), (-118.958,11.7,-118.408,12)])
wg_x11.add(gdstk.Label('op_0', (-118.683,12), layer=70, texttype=41))
wg_x11.add(gdstk.Label('op_1', (-113.683,7), layer=70, texttype=41))

bendeuler90_x7 = lib.new_cell('BendEuler90_x7')
R(bendeuler90_x7, PINREC_FWG_70_31, [(-113.983,6.725,-113.683,7.275), (-118.958,11.7,-118.408,12)])
bendeuler90_x7.add(gdstk.Reference(wg_x11, (0,0)))
bendeuler90_x7.add(gdstk.Label('op_0', (-118.683,12), layer=70, texttype=41))
bendeuler90_x7.add(gdstk.Label('op_1', (-113.683,7), layer=70, texttype=41))

wg_xf = lib.new_cell('wg_xf')
R(wg_xf, FWG_COR_1_1, [(-113.683,6.725,-17,7.275)])
P(wg_xf, FWG_CLD_1_2, [(-113.683,9.225),(-17,9.225),(-17,7.275),(-17,6.725),(-17,4.775),(-113.683,4.775),(-113.683,6.725),(-113.683,7.275)])
R(wg_xf, PINREC_FWG_70_31, [(-113.683,6.725,-113.383,7.275), (-17.3,6.725,-17,7.275)])
wg_xf.add(gdstk.Label('op_0', (-113.683,7), layer=70, texttype=41))
wg_xf.add(gdstk.Label('op_1', (-17,7), layer=70, texttype=41))

linksmooth_x4 = lib.new_cell('LinkSmooth_x4')
R(linksmooth_x4, PINREC_FWG_70_31, [(-0.275,0,0.275,0.3), (-12.275,11.7,-11.725,12)])
linksmooth_x4.add(gdstk.Reference(wg_x28, (0,0), rotation=pi/2))
linksmooth_x4.add(gdstk.Reference(bendeuler90_x3, (0,76), rotation=pi/2))
linksmooth_x4.add(gdstk.Reference(wg_xd, (-5,81), rotation=pi))
linksmooth_x4.add(gdstk.Reference(bendeuler90, (0,0)))
linksmooth_x4.add(gdstk.Reference(wg_x10, (0,0)))
linksmooth_x4.add(gdstk.Reference(bendeuler90_x7, (0,0)))
linksmooth_x4.add(gdstk.Reference(wg_xf, (0,0)))
linksmooth_x4.add(gdstk.Reference(bendeuler90_x3, (-17,7)))
linksmooth_x4.add(gdstk.Label('op_0', (0,0), layer=70, texttype=41))
linksmooth_x4.add(gdstk.Label('op_1', (-12,12), layer=70, texttype=41))

wg_x22 = lib.new_cell('wg_x22')
R(wg_x22, FWG_COR_1_1, [(0,-0.275,88,0.275)])
P(wg_x22, FWG_CLD_1_2, [(0,2.225),(88,2.225),(88,0.275),(88,-0.275),(88,-2.225),(0,-2.225),(0,-0.275),(0,0.275)])
R(wg_x22, PINREC_FWG_70_31, [(0,-0.275,0.3,0.275), (87.7,-0.275,88,0.275)])
wg_x22.add(gdstk.Label('op_0', (0,0), layer=70, texttype=41))
wg_x22.add(gdstk.Label('op_1', (88,0), layer=70, texttype=41))

wg_x29 = lib.new_cell('wg_x29')
R(wg_x29, FWG_COR_1_1, [(0,-0.275,120.683,0.275)])
P(wg_x29, FWG_CLD_1_2, [(0,2.225),(120.683,2.225),(120.683,0.275),(120.683,-0.275),(120.683,-2.225),(0,-2.225),(0,-0.275),(0,0.275)])
R(wg_x29, PINREC_FWG_70_31, [(0,-0.275,0.3,0.275), (120.383,-0.275,120.683,0.275)])
wg_x29.add(gdstk.Label('op_0', (0,0), layer=70, texttype=41))
wg_x29.add(gdstk.Label('op_1', (120.683,0), layer=70, texttype=41))

wg_x9 = lib.new_cell('wg_x9')
P(wg_x9, FWG_COR_1_1, [(-125.683,92.725),(-126.995,92.694),(-127.95,92.55),(-128.753,92.259),(-129.372,91.835),(-129.862,91.218),(-130.201,90.392),(-130.374,89.356),(-130.408,88),(-130.958,88),(-130.914,89.495),(-130.718,90.585),(-130.557,91.049),(-130.338,91.494),(-130.055,91.907),(-129.707,92.274),(-129.263,92.603),(-128.687,92.892),(-128.033,93.096),(-127.321,93.216),(-125.683,93.275)])
P(wg_x9, FWG_CLD_1_2, [(-125.683,90.775),(-126.637,90.762),(-127.252,90.703),(-127.74,90.578),(-128.065,90.387),(-128.247,90.092),(-128.382,89.597),(-128.442,89.026),(-128.458,88),(-132.908,88),(-132.882,89.328),(-132.757,90.409),(-132.509,91.391),(-132.1,92.337),(-131.575,93.128),(-130.938,93.787),(-130.222,94.302),(-129.343,94.729),(-128.609,94.962),(-127.719,95.132),(-126.844,95.207),(-125.683,95.225)])
R(wg_x9, PINREC_FWG_70_31, [(-130.958,88,-130.408,88.3), (-125.983,92.725,-125.683,93.275)])
wg_x9.add(gdstk.Label('op_0', (-125.683,93), layer=70, texttype=41))
wg_x9.add(gdstk.Label('op_1', (-130.683,88), layer=70, texttype=41))

bendeuler90_x5 = lib.new_cell('BendEuler90_x5')
R(bendeuler90_x5, PINREC_FWG_70_31, [(-130.958,88,-130.408,88.3), (-125.983,92.725,-125.683,93.275)])
bendeuler90_x5.add(gdstk.Reference(wg_x9, (0,0)))
bendeuler90_x5.add(gdstk.Label('op_0', (-125.683,93), layer=70, texttype=41))
bendeuler90_x5.add(gdstk.Label('op_1', (-130.683,88), layer=70, texttype=41))

wg_x1f = lib.new_cell('wg_x1f')
R(wg_x1f, FWG_COR_1_1, [(-130.958,12,-130.408,88)])
P(wg_x1f, FWG_CLD_1_2, [(-128.458,88),(-128.458,12),(-130.408,12),(-130.958,12),(-132.908,12),(-132.908,88),(-130.958,88),(-130.408,88)])
R(wg_x1f, PINREC_FWG_70_31, [(-130.958,12,-130.408,12.3), (-130.958,87.7,-130.408,88)])
wg_x1f.add(gdstk.Label('op_0', (-130.683,88), layer=70, texttype=41))
wg_x1f.add(gdstk.Label('op_1', (-130.683,12), layer=70, texttype=41))

wg_x12 = lib.new_cell('wg_x12')
P(wg_x12, FWG_COR_1_1, [(-130.408,12),(-130.377,10.688),(-130.233,9.733),(-129.961,8.968),(-129.546,8.342),(-129.214,8.031),(-128.865,7.801),(-128.034,7.471),(-127.084,7.313),(-125.683,7.275),(-125.683,6.725),(-127.131,6.765),(-128.222,6.952),(-129.134,7.321),(-129.591,7.628),(-129.923,7.939),(-130.286,8.42),(-130.537,8.905),(-130.756,9.556),(-130.888,10.267),(-130.958,12)])
P(wg_x12, FWG_CLD_1_2, [(-128.458,12),(-128.391,10.459),(-128.261,9.943),(-128.076,9.624),(-127.758,9.429),(-127.252,9.297),(-126.6,9.236),(-125.683,9.225),(-125.683,4.775),(-127.068,4.805),(-128.093,4.926),(-129.074,5.174),(-130.02,5.583),(-130.812,6.108),(-131.47,6.745),(-132.025,7.529),(-132.438,8.407),(-132.662,9.14),(-132.823,10.025),(-132.893,10.895),(-132.908,12)])
R(wg_x12, PINREC_FWG_70_31, [(-125.983,6.725,-125.683,7.275), (-130.958,11.7,-130.408,12)])
wg_x12.add(gdstk.Label('op_0', (-130.683,12), layer=70, texttype=41))
wg_x12.add(gdstk.Label('op_1', (-125.683,7), layer=70, texttype=41))

bendeuler90_x8 = lib.new_cell('BendEuler90_x8')
R(bendeuler90_x8, PINREC_FWG_70_31, [(-125.983,6.725,-125.683,7.275), (-130.958,11.7,-130.408,12)])
bendeuler90_x8.add(gdstk.Reference(wg_x12, (0,0)))
bendeuler90_x8.add(gdstk.Label('op_0', (-130.683,12), layer=70, texttype=41))
bendeuler90_x8.add(gdstk.Label('op_1', (-125.683,7), layer=70, texttype=41))

wg_x27 = lib.new_cell('wg_x27')
R(wg_x27, FWG_COR_1_1, [(-125.683,6.725,-17,7.275)])
P(wg_x27, FWG_CLD_1_2, [(-125.683,9.225),(-17,9.225),(-17,7.275),(-17,6.725),(-17,4.775),(-125.683,4.775),(-125.683,6.725),(-125.683,7.275)])
R(wg_x27, PINREC_FWG_70_31, [(-125.683,6.725,-125.383,7.275), (-17.3,6.725,-17,7.275)])
wg_x27.add(gdstk.Label('op_0', (-125.683,7), layer=70, texttype=41))
wg_x27.add(gdstk.Label('op_1', (-17,7), layer=70, texttype=41))

linksmooth_x5 = lib.new_cell('LinkSmooth_x5')
R(linksmooth_x5, PINREC_FWG_70_31, [(-0.275,0,0.275,0.3), (-12.275,11.7,-11.725,12)])
linksmooth_x5.add(gdstk.Reference(wg_x22, (0,0), rotation=pi/2))
linksmooth_x5.add(gdstk.Reference(bendeuler90_x3, (0,88), rotation=pi/2))
linksmooth_x5.add(gdstk.Reference(wg_x29, (-5,93), rotation=pi))
linksmooth_x5.add(gdstk.Reference(bendeuler90_x5, (0,0)))
linksmooth_x5.add(gdstk.Reference(wg_x1f, (0,0)))
linksmooth_x5.add(gdstk.Reference(bendeuler90_x8, (0,0)))
linksmooth_x5.add(gdstk.Reference(wg_x27, (0,0)))
linksmooth_x5.add(gdstk.Reference(bendeuler90_x3, (-17,7)))
linksmooth_x5.add(gdstk.Label('op_0', (0,0), layer=70, texttype=41))
linksmooth_x5.add(gdstk.Label('op_1', (-12,12), layer=70, texttype=41))

linksmooth_x6 = lib.new_cell('LinkSmooth_x6')
R(linksmooth_x6, PINREC_FWG_70_31, [(-5,-5.275,-4.7,-4.725), (-0.275,-0.3,0.275,0)])
linksmooth_x6.add(gdstk.Reference(bendeuler90_x3, (0,0), rotation=3*pi/2, x_reflection=True))
linksmooth_x6.add(gdstk.Label('op_0', (0,0), layer=70, texttype=41))
linksmooth_x6.add(gdstk.Label('op_1', (-5,-5), layer=70, texttype=41))

spiral = lib.new_cell('Spiral')
R(spiral, PINREC_FWG_70_31, [(40.7,-53.275,41,-52.725), (25,-47.275,25.3,-46.725)])
spiral.add(gdstk.Reference(linksmooth_x2, (0,0)))
spiral.add(gdstk.Reference(linksmooth_x3, (12,-24)))
spiral.add(gdstk.Reference(linksmooth, (18,-30)))
spiral.add(gdstk.Reference(linksmooth_x1, (24,-36)))
spiral.add(gdstk.Reference(linksmooth_x4, (30,-42)))
spiral.add(gdstk.Reference(linksmooth_x5, (36,-48)))
spiral.add(gdstk.Reference(linksmooth_x6, (25,-47), rotation=3*pi/2, x_reflection=True))
spiral.add(gdstk.Reference(linksmooth_x6, (41,-53), rotation=3*pi/2))
spiral.add(gdstk.Label('op_0', (41,-53), layer=70, texttype=41))
spiral.add(gdstk.Label('op_0', (25,-47), layer=70, texttype=41))

lib.write_gds('Spiral.gds')
